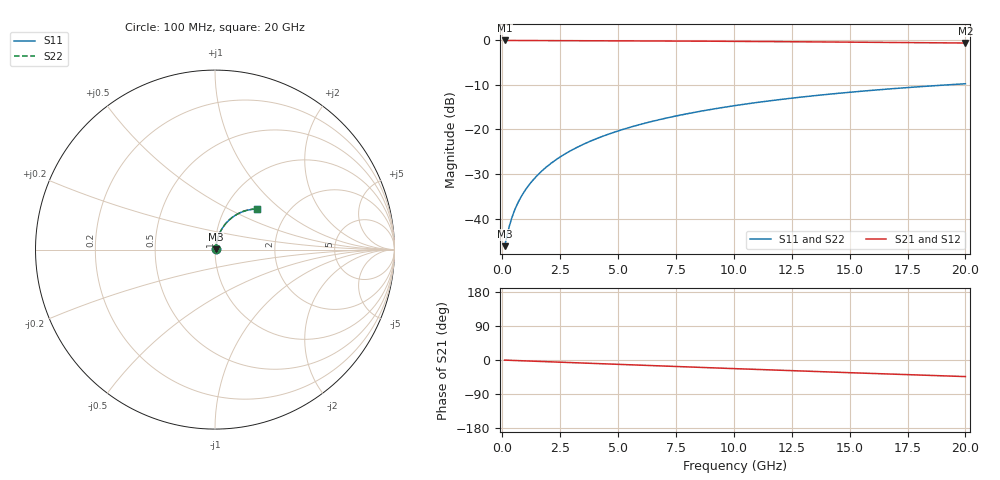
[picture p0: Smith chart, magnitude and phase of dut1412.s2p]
! Touchstone file exported from HFSS 2026.1.0
!  File:  C:/ffzhzh/LocalFiles/Ansys_Project_Files/temp_train_BSMRDL_1412_1783180053_18472.aedt
!  Generated:  11:48:46 PM Jul  4, 2026
!  Design:  BSMRDL
!  Project:  temp_train_BSMRDL_1412_1783180053_18472
! Variables:
!  h_bsmrdl = 2.63um
!  h_ox = 20um
!  h_rdl = 5um
!  h_sub = 80um
!  h_tmrdl = 5um
!  h_tsv = 80um
!  h_via = 3um
!  l_bsmrdl = 683.44um
!  l_sub = 1083.44um
!  l_tmrdl = 200um
!  m_sub = 200um
!  pitch = 39.15um
!  r_tsv = 6um
!  s_tmrdl = 10um
!  w_bsmrdl = 22.39um
!  w_sub = 500um
!  w_tmrdl = 12um
!  x_tsv_center1 = 206um
!  x_tsv_center2 = 911.83um
!  x_tsv_center3 = 1123.83um
!  x_tsv_center4 = 1829.66um
!  x_tsv_center5 = 2041.66um
!  x_tsv_center6 = 2747.49um
# GHz S MA R 50.000000
! Terminal data exported
! Port[1] = BSM_RDL1_1_T1
! Port[2] = BSM_RDL1_1_T2
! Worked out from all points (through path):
!   200 points, 100 MHz to 20 GHz, reference 50 ohm
!   highest |S21| = -0.04 dB at 100 MHz (marker M1); lowest = -0.6 dB at 20 GHz (marker M2)
!   group delay of S21, straight-line fit = 6.08 ps
!   lowest |S11| = -46.2 dB at 100 MHz (marker M3), VSWR 1.01, Z = 50.4 + j0.229 ohm
!   |S11| at or under -10 dB: start of sweep to 19.2 GHz
!   |S22| runs from -46.2 to -9.7 dB; largest |S21 - S12| = 2.1e-15
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0.1  0.004921 27.5  0.9956 -0.3  0.9956 -0.3  0.004921 27.5
! Gamma 0 0 0 0
! Port Impedance 50 0 50 0
0.3  0.008171 53.7  0.9952 -0.7  0.9952 -0.7  0.008171 53.7
0.4  0.01001 59.2  0.995 -1.0  0.995 -1.0  0.01001 59.2
0.5  0.01186 62.9  0.9948 -1.2  0.9948 -1.2  0.01186 62.9
0.6  0.01369 65.5  0.9946 -1.4  0.9946 -1.4  0.01369 65.5
0.8  0.01736 69.2  0.9943 -1.9  0.9943 -1.9  0.01736 69.2
1  0.02103 71.7  0.994 -2.4  0.994 -2.4  0.02103 71.7
1.2  0.02474 73.4  0.9938 -2.8  0.9938 -2.8  0.02474 73.4
1.4  0.02847 74.5  0.9936 -3.3  0.9936 -3.3  0.02847 74.6
1.7  0.03411 75.7  0.9933 -4.0  0.9933 -4.0  0.03411 75.7
2.2  0.04358 76.6  0.9928 -5.1  0.9928 -5.1  0.04357 76.6
2.8  0.05496 76.7  0.9921 -6.5  0.9921 -6.5  0.05496 76.8
3.5  0.06823 76.3  0.991 -8.1  0.991 -8.1  0.06822 76.3
4.2  0.08141 75.4  0.9897 -9.7  0.9897 -9.7  0.08141 75.4
5  0.09634 74.1  0.9881 -11.5  0.9881 -11.5  0.09633 74.1
5.9  0.1129 72.5  0.9859 -13.6  0.9859 -13.6  0.1129 72.5
6.8  0.1292 70.8  0.9835 -15.6  0.9835 -15.6  0.1292 70.8
8.3  0.1557 67.7  0.9789 -19.0  0.9789 -19.0  0.1557 67.8
10.1  0.1862 64.0  0.9727 -22.9  0.9727 -22.9  0.1862 64.1
13.4  0.2382 57.2  0.9599 -30.1  0.9599 -30.1  0.2381 57.3
16.7  0.2847 50.5  0.9461 -37.0  0.9461 -37.0  0.2847 50.6
20  0.3256 43.9  0.9322 -43.7  0.9322 -43.7  0.3255 44.1
